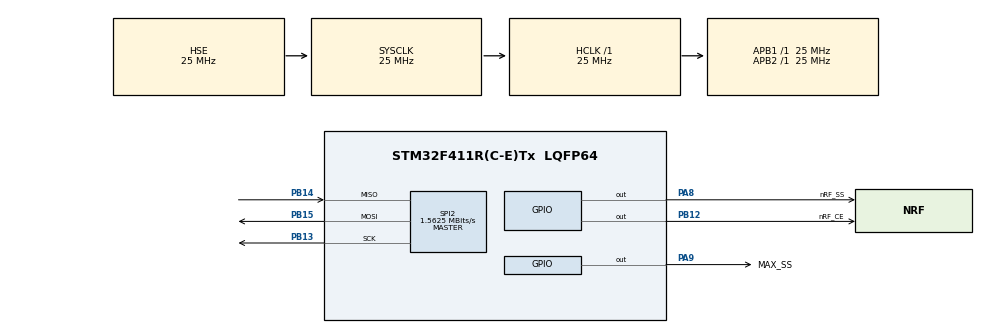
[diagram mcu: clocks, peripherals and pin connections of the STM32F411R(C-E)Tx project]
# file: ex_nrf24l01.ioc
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Mcu.Family=STM32F4
Mcu.Name=STM32F411R(C-E)Tx
Mcu.Package=LQFP64
NVIC.PriorityGroup=NVIC_PRIORITYGROUP_4
PA13.Mode=Serial_Wire
PA13.Signal=SYS_JTMS-SWDIO
PA14.Mode=Serial_Wire
PA14.Signal=SYS_JTCK-SWCLK
PA8.GPIO_Label=nRF_SS
PA8.Signal=GPIO_Output
PA9.GPIO_Label=MAX_SS
PA9.Signal=GPIO_Output
PB12.GPIO_Label=nRF_CE
PB12.Signal=GPIO_Output
PB13.Mode=Full_Duplex_Master
PB13.Signal=SPI2_SCK
PB14.Mode=Full_Duplex_Master
PB14.Signal=SPI2_MISO
PB15.Mode=Full_Duplex_Master
PB15.Signal=SPI2_MOSI
PH0\ -\ OSC_IN.Mode=HSE-External-Oscillator
PH0\ -\ OSC_IN.Signal=RCC_OSC_IN
PH1\ -\ OSC_OUT.Mode=HSE-External-Oscillator
PH1\ -\ OSC_OUT.Signal=RCC_OSC_OUT
ProjectManager.HeapSize=0x200
ProjectManager.StackSize=0x400
ProjectManager.TargetToolchain=STM32CubeIDE
RCC.AHBFreq_Value=25000000
RCC.APB1Freq_Value=25000000
RCC.APB1TimFreq_Value=25000000
RCC.APB2Freq_Value=25000000
RCC.APB2TimFreq_Value=25000000
RCC.CortexFreq_Value=25000000
RCC.HCLKFreq_Value=25000000
RCC.HSE_VALUE=25000000
RCC.HSI_VALUE=16000000
RCC.LSE_VALUE=32768
RCC.SYSCLKFreq_VALUE=25000000
RCC.SYSCLKSource=RCC_SYSCLKSOURCE_HSE
RCC.VCOOutputFreq_Value=192000000
SPI2.BaudRatePrescaler=SPI_BAUDRATEPRESCALER_16
SPI2.CalculateBaudRate=1.5625 MBits/s
SPI2.Direction=SPI_DIRECTION_2LINES
SPI2.Mode=SPI_MODE_MASTER
SPI2.VirtualType=VM_MASTER
board=custom

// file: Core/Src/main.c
/* USER CODE BEGIN Header */
/**
  ******************************************************************************
  * @file           : main.c
  * @brief          : Main program body
  ******************************************************************************
  * @attention
  *
  * Copyright (c) 2025 STMicroelectronics.
  * All rights reserved.
  *
  * This software is licensed under terms that can be found in the LICENSE file
  * in the root directory of this software component.
  * If no LICENSE file comes with this software, it is provided AS-IS.
  *
  ******************************************************************************
  */
/* USER CODE END Header */
#include "main.h"
#include "spi.h"
#include "gpio.h"

/* USER CODE BEGIN Includes */
#include "max7219.h"
#include "nrf24.h"
#include "max7219_matrix.h"

/* USER CODE END Includes */

/* USER CODE BEGIN PD */
#define SPI_EXAMPLE_RECEIVE
/* USER CODE END PD */

/* USER CODE BEGIN PV */
uint8_t txRec[5] = {0xaa, 0xaa, 0xaa, 0x00, 0x00};
uint8_t rxRec[5] = {0xff, 0xff, 0xff, 0xfe, 0xcd};

uint8_t txTrs[5] = {0xff, 0xff, 0xff, 0xfe, 0xcd};
uint8_t rxTrs[5] = {0xaa, 0xaa, 0xaa, 0x00, 0x00};

uint8_t gVal[4] = {0};
/* USER CODE END PV */

void SystemClock_Config(void);

int main(void)
{

  /* USER CODE BEGIN 1 */
	uint8_t error;
  /* USER CODE END 1 */

  /* MCU Configuration--------------------------------------------------------*/

  /* Reset of all peripherals, Initializes the Flash interface and the Systick. */
  HAL_Init();

  /* Configure the system clock */
  SystemClock_Config();

  /* Initialize all configured peripherals */
  MX_GPIO_Init();
  MX_SPI2_Init();
  /* USER CODE BEGIN 2 */
  nrf24_init();
  nrf24_config(2, 4);
//  inicializa endereços
#if defined (SPI_EXAMPLE_RECEIVER)
  nrf24_rx_address(rxRec);
  nrf24_tx_address(txRec);
#else
  nrf24_rx_address(rxTrs);
  nrf24_tx_address(txTrs);
#endif

  MAX7219_MatrixInit(&hspi2, MAX_SS_GPIO_Port, MAX_SS_Pin);
  /* USER CODE END 2 */

  /* Infinite loop */
  /* USER CODE BEGIN WHILE */
  MAX7219_MatrixSetRow64(0, numbers[gVal[0]]);
  MAX7219_MatrixUpdate();
  while (1)
  {
#if defined (SPI_EXAMPLE_RECEIVER)
	  if(nrf24_dataReady() == 1){
		  nrf24_getData(gVal);

		  gVal[0] = gVal[0] % 10;
		  MAX7219_MatrixSetRow64(0, numbers[gVal[0]]);
		  MAX7219_MatrixUpdate();
	  }
#else
	  nrf24_send(gVal);
	  while(nrf24_isSending() == 1);
	  error = nrf24_lastMessageStatus();
	  if(error == NRF24_MESSAGE_LOST){
		  error = nrf24_retransmissionCount();
		  gVal[0]--;
	  }

	  gVal[0]++;
	  HAL_Delay(1000);
#endif
    /* USER CODE END WHILE */

  }
}

void SystemClock_Config(void)
{
  RCC_OscInitTypeDef RCC_OscInitStruct = {0};
  RCC_ClkInitTypeDef RCC_ClkInitStruct = {0};

  /** Configure the main internal regulator output voltage
  */
  __HAL_RCC_PWR_CLK_ENABLE();
  __HAL_PWR_VOLTAGESCALING_CONFIG(PWR_REGULATOR_VOLTAGE_SCALE1);

  /** Initializes the RCC Oscillators according to the specified parameters
  * in the RCC_OscInitTypeDef structure.
  */
  RCC_OscInitStruct.OscillatorType = RCC_OSCILLATORTYPE_HSE;
  RCC_OscInitStruct.HSEState = RCC_HSE_ON;
  RCC_OscInitStruct.PLL.PLLState = RCC_PLL_NONE;
  if (HAL_RCC_OscConfig(&RCC_OscInitStruct) != HAL_OK)
  {
    Error_Handler();
  }

  /** Initializes the CPU, AHB and APB buses clocks
  */
  RCC_ClkInitStruct.ClockType = RCC_CLOCKTYPE_HCLK|RCC_CLOCKTYPE_SYSCLK
                              |RCC_CLOCKTYPE_PCLK1|RCC_CLOCKTYPE_PCLK2;
  RCC_ClkInitStruct.SYSCLKSource = RCC_SYSCLKSOURCE_HSE;
  RCC_ClkInitStruct.AHBCLKDivider = RCC_SYSCLK_DIV1;
  RCC_ClkInitStruct.APB1CLKDivider = RCC_HCLK_DIV1;
  RCC_ClkInitStruct.APB2CLKDivider = RCC_HCLK_DIV1;

  if (HAL_RCC_ClockConfig(&RCC_ClkInitStruct, FLASH_LATENCY_0) != HAL_OK)
  {
    Error_Handler();
  }
}

void Error_Handler(void)
{
  __disable_irq();
  while (1)
  {
  }
}
